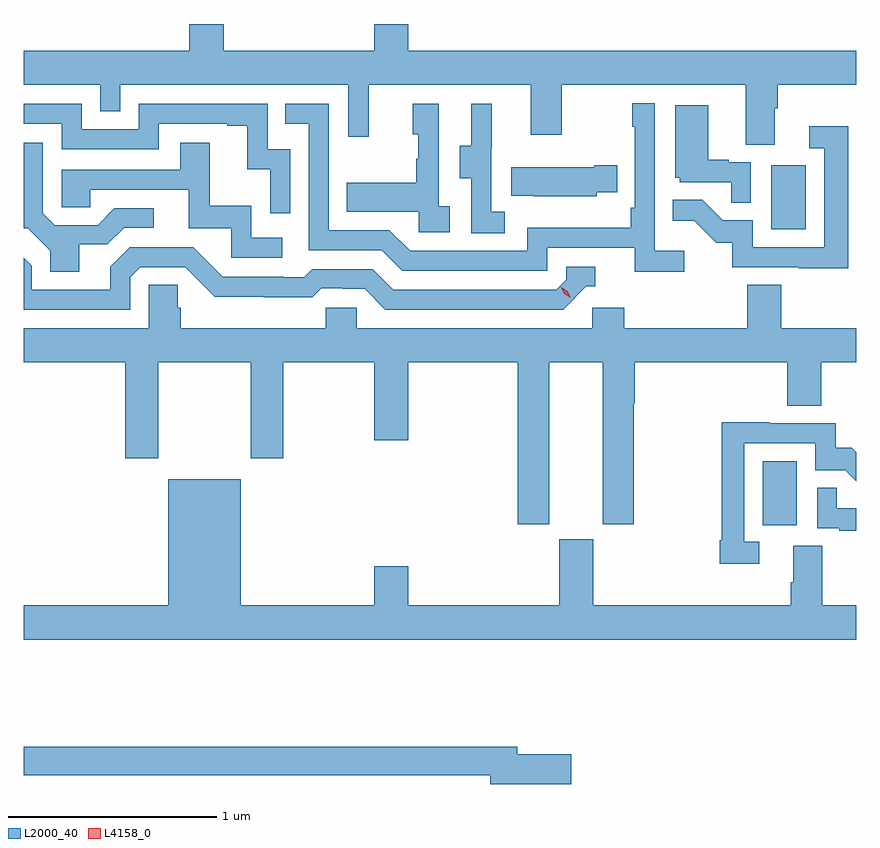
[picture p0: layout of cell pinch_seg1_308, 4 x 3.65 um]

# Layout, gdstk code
import gdstk
lib = gdstk.Library(unit=1e-6, precision=1e-09)
def R(c, l, rs):  # rectangles x0, y0, x1, y1
    for r in rs: c.add(gdstk.rectangle(r[:2], r[2:], *l))
def P(c, l, *ps):  # polygons
    for p in ps: c.add(gdstk.Polygon(p, *l))
L2000_40 = (2000, 40)
L4158_0 = (4158, 0)

pinch_seg1_308 = lib.new_cell('pinch_seg1_308')
R(pinch_seg1_308, L2000_40, [(898.142,556.278,898.306,556.585), (898.184,557.7,898.348,558.007)])
P(pinch_seg1_308, L2000_40, [(898.201,558.28),(898.214,558.28),(898.214,558.392),(898.592,558.392),(898.592,558.556),(896.44,558.556),(896.44,558.685),(896.276,558.685),(896.276,558.556),(895.552,558.556),(895.552,558.685),(895.388,558.685),(895.388,558.556),(894.592,558.556),(894.592,558.392),(894.96,558.392),(894.96,558.265),(895.056,558.265),(895.056,558.392),(896.151,558.392),(896.151,558.144),(896.249,558.144),(896.249,558.392),(897.029,558.392),(897.029,558.153),(897.177,558.153),(897.177,558.392),(898.061,558.392),(898.061,558.106),(898.201,558.106)],
  [(897.766,557.596),(897.624,557.596),(897.624,558.304),(897.516,558.304),(897.516,558.191),(897.528,558.191),(897.528,557.803),(897.508,557.803),(897.508,557.707),(897.012,557.707),(897.012,557.595),(896.448,557.595),(896.349,557.694),(896.058,557.694),(896.058,558.303),(895.849,558.303),(895.849,558.207),(895.962,558.207),(895.962,557.598),(896.312,557.598),(896.411,557.499),(897.108,557.499),(897.108,557.61),(897.527,557.61),(897.527,557.494),(897.766,557.494)],
  [(895.872,558.084),(895.764,558.084),(895.764,558.303),(895.146,558.303),(895.146,558.18),(894.87,558.18),(894.87,558.303),(894.592,558.303),(894.592,558.207),(894.774,558.207),(894.774,558.084),(895.242,558.084),(895.242,558.207),(895.571,558.207),(895.571,558.195),(895.667,558.195),(895.667,557.987),(895.776,557.987),(895.776,557.775),(895.872,557.775)],
  [(896.902,557.783),(896.838,557.783),(896.838,558.087),(896.84,558.087),(896.84,558.301),(896.741,558.301),(896.741,558.099),(896.687,558.099),(896.687,557.944),(896.742,557.944),(896.742,557.68),(896.902,557.68)],
  [(896.638,557.81),(896.586,557.81),(896.586,558.301),(896.462,558.301),(896.462,558.156),(896.488,558.156),(896.488,558.038),(896.478,558.038),(896.478,557.923),(896.143,557.923),(896.143,557.783),(896.49,557.783),(896.49,557.685),(896.638,557.685)],
  [(898.086,558.021),(897.98,558.021),(897.98,558.034),(897.88,558.034),(897.88,558.295),(897.722,558.295),(897.722,557.946),(897.744,557.946),(897.744,557.925),(897.991,557.925),(897.991,557.827),(898.086,557.827)],
  [(898.553,558.193),(898.365,558.193),(898.365,558.087),(898.437,558.087),(898.437,557.613),(898.095,557.613),(898.095,557.742),(897.951,557.742),(897.853,557.84),(897.709,557.84),(897.709,557.741),(897.813,557.741),(897.92,557.634),(897.997,557.634),(897.997,557.517),(898.315,557.517),(898.315,557.512),(898.553,557.512)],
  [(894.859,557.626),(894.994,557.626),(895.074,557.706),(895.216,557.706),(895.216,557.799),(895.028,557.799),(894.947,557.718),(894.741,557.718),(894.684,557.775),(894.684,558.115),(894.592,558.115),(894.592,557.703),(894.612,557.703),(894.719,557.596),(894.719,557.494),(894.859,557.494)],
  [(895.834,557.658),(895.686,557.658),(895.686,557.812),(895.487,557.812),(895.487,558.115),(895.343,558.115),(895.343,557.985),(894.774,557.985),(894.774,557.805),(894.911,557.805),(894.911,557.889),(895.385,557.889),(895.385,557.703),(895.59,557.703),(895.59,557.562),(895.834,557.562)],
  [(897.345,557.876),(897.443,557.876),(897.443,558.006),(897.332,558.006),(897.332,557.998),(896.935,557.998),(896.935,557.861),(897.043,557.861),(897.043,557.858),(897.345,557.858)],
  [(895.104,557.469),(895.152,557.517),(895.368,557.517),(895.51,557.375),(895.746,557.375),(895.746,557.373),(895.979,557.373),(896.021,557.415),(896.124,557.415),(896.124,557.412),(896.231,557.412),(896.33,557.313),(897.183,557.313),(897.294,557.424),(897.337,557.424),(897.337,557.52),(897.198,557.52),(897.198,557.457),(897.15,557.409),(896.367,557.409),(896.268,557.508),(895.979,557.508),(895.94,557.469),(895.841,557.469),(895.841,557.472),(895.548,557.472),(895.407,557.613),(895.101,557.613),(895.007,557.519),(895.007,557.409),(894.63,557.409),(894.63,557.523),(894.592,557.561),(894.592,557.313),(895.104,557.313)],
  [(897.118,557.06),(897.374,557.06),(897.374,556.281),(897.522,556.281),(897.522,556.864),(897.527,556.864),(897.527,557.06),(898.259,557.06),(898.259,556.852),(898.424,556.852),(898.424,557.06),(898.592,557.06),(898.592,557.224),(898.232,557.224),(898.232,557.432),(898.067,557.432),(898.067,557.224),(897.476,557.224),(897.476,557.322),(897.324,557.322),(897.324,557.224),(896.193,557.224),(896.193,557.322),(896.043,557.322),(896.043,557.224),(895.346,557.224),(895.346,557.322),(895.331,557.322),(895.331,557.432),(895.194,557.432),(895.194,557.224),(894.592,557.224),(894.592,557.06),(895.079,557.06),(895.079,556.599),(895.239,556.599),(895.239,557.06),(895.684,557.06),(895.684,556.599),(895.839,556.599),(895.839,557.06),(896.276,557.06),(896.276,556.686),(896.44,556.686),(896.44,557.06),(896.966,557.06),(896.966,556.281),(897.118,556.281)],
  [(898.126,556.197),(898.053,556.197),(898.053,556.671),(898.395,556.671),(898.395,556.542),(898.539,556.542),(898.592,556.489),(898.592,556.628),(898.57,556.65),(898.494,556.65),(898.494,556.767),(898.175,556.767),(898.175,556.772),(897.945,556.772),(897.945,556.204),(897.937,556.204),(897.937,556.092),(898.126,556.092)],
  [(898.592,555.892),(898.429,555.892),(898.429,556.178),(898.289,556.178),(898.289,556.004),(898.277,556.004),(898.277,555.892),(897.328,555.892),(897.328,556.209),(897.164,556.209),(897.164,555.892),(896.44,555.892),(896.44,556.081),(896.276,556.081),(896.276,555.892),(895.636,555.892),(895.636,556.498),(895.286,556.498),(895.286,555.892),(894.592,555.892),(894.592,555.728),(898.592,555.728)],
  [(898.592,556.359),(898.499,556.359),(898.499,556.457),(898.404,556.457),(898.404,556.263),(898.511,556.263),(898.511,556.251),(898.592,556.251)],
  [(897.223,555.176),(896.962,555.176),(896.962,555.212),(894.592,555.212),(894.592,555.076),(896.834,555.076),(896.834,555.034),(897.223,555.034)])
P(pinch_seg1_308, L4158_0, [(897.219,557.369),(897.188,557.389),(897.173,557.422),(897.173,557.422),(897.173,557.422),(897.204,557.402),(897.219,557.37),(897.219,557.369)])

lib.write_gds('pinch_seg1_308.gds')
